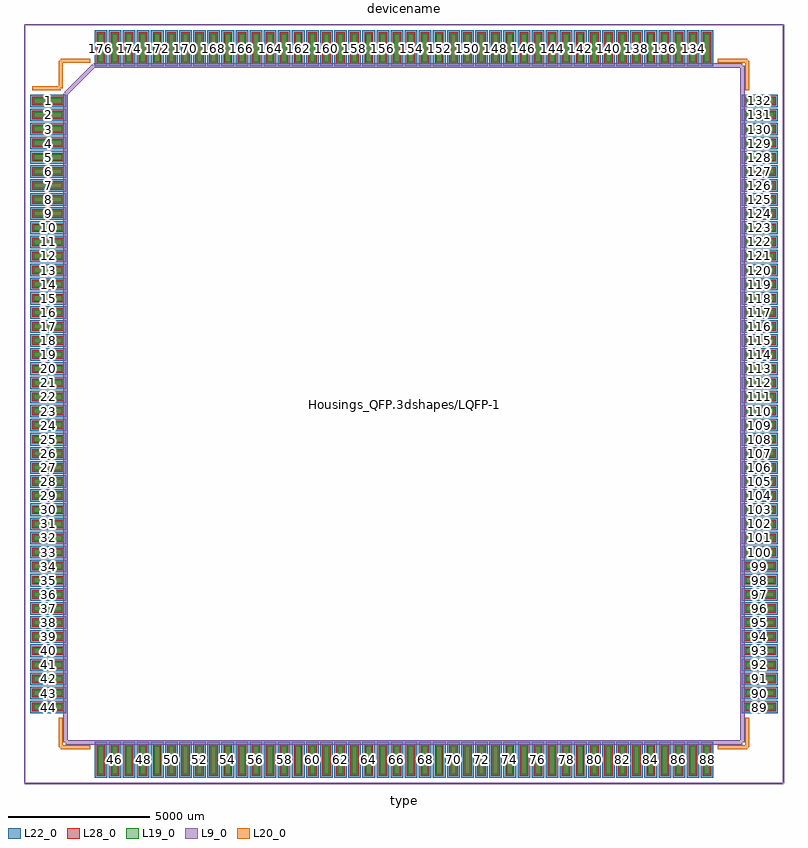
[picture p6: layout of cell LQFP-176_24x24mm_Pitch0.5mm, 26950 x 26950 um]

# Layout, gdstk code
import gdstk
lib = gdstk.Library(unit=1e-6, precision=1e-09)
def R(c, l, rs):  # rectangles x0, y0, x1, y1
    for r in rs: c.add(gdstk.rectangle(r[:2], r[2:], *l))
def A(c, l, x, y, w, h, nx, ny, dx, dy):  # array of equal rectangles
    R(c, l, [(x+i*dx, y+j*dy, x+i*dx+w, y+j*dy+h) for i in range(nx) for j in range(ny)])
L9_0 = (9, 0)
L19_0 = (19, 0)
L20_0 = (20, 0)
L22_0 = (22, 0)
L28_0 = (28, 0)

lqfp_176_24x24mm_pitch0_ = lib.new_cell('LQFP-176_24x24mm_Pitch0.5mm')
A(lqfp_176_24x24mm_pitch0_, L19_0, -10850, -13130, 200, 1020, 44, 2, 500, 25240)
A(lqfp_176_24x24mm_pitch0_, L19_0, -13130, -10850, 1020, 200, 1, 44, 0, 500)
A(lqfp_176_24x24mm_pitch0_, L19_0, 12110, -10850, 1020, 200, 1, 44, 0, 500)
A(lqfp_176_24x24mm_pitch0_, L22_0, -10975, -13255, 450, 1270, 44, 2, 500, 25240)
A(lqfp_176_24x24mm_pitch0_, L22_0, -13255, -10975, 1270, 450, 1, 44, 0, 500)
A(lqfp_176_24x24mm_pitch0_, L22_0, 11985, -10975, 1270, 450, 1, 44, 0, 500)
A(lqfp_176_24x24mm_pitch0_, L28_0, -10900, -13180, 300, 1120, 44, 2, 500, 25240)
A(lqfp_176_24x24mm_pitch0_, L28_0, -13180, -10900, 1120, 300, 1, 44, 0, 500)
A(lqfp_176_24x24mm_pitch0_, L28_0, 12060, -10900, 1120, 300, 1, 44, 0, 500)
lqfp_176_24x24mm_pitch0_.add(gdstk.FlexPath([(-12175,11200),(-13180,11200)], 149.998, ends="flush", simple_path=True, layer=20, datatype=0))  # L20_0
lqfp_176_24x24mm_pitch0_.add(gdstk.FlexPath([(12175,12175),(11125,12175)], 149.998, ends="flush", simple_path=True, layer=20, datatype=0))  # L20_0
lqfp_176_24x24mm_pitch0_.add(gdstk.FlexPath([(12175,-12175),(11125,-12175)], 149.998, ends="flush", simple_path=True, layer=20, datatype=0))  # L20_0
lqfp_176_24x24mm_pitch0_.add(gdstk.FlexPath([(-12175,-12175),(-11125,-12175)], 149.998, ends="flush", simple_path=True, layer=20, datatype=0))  # L20_0
lqfp_176_24x24mm_pitch0_.add(gdstk.FlexPath([(-12175,12175),(-11125,12175)], 149.998, ends="flush", simple_path=True, layer=20, datatype=0))  # L20_0
lqfp_176_24x24mm_pitch0_.add(gdstk.FlexPath([(-12175,-12175),(-12175,-11125)], 149.998, ends="flush", simple_path=True, layer=20, datatype=0))  # L20_0
lqfp_176_24x24mm_pitch0_.add(gdstk.FlexPath([(12175,-12175),(12175,-11125)], 149.998, ends="flush", simple_path=True, layer=20, datatype=0))  # L20_0
lqfp_176_24x24mm_pitch0_.add(gdstk.FlexPath([(12175,12175),(12175,11125)], 149.998, ends="flush", simple_path=True, layer=20, datatype=0))  # L20_0
lqfp_176_24x24mm_pitch0_.add(gdstk.FlexPath([(-12175,12175),(-12175,11200)], 149.998, ends="flush", simple_path=True, layer=20, datatype=0))  # L20_0
lqfp_176_24x24mm_pitch0_.add(gdstk.FlexPath([(-13450,-13450),(13450,-13450)], 50, ends="flush", simple_path=True, layer=9, datatype=0))  # L9_0
lqfp_176_24x24mm_pitch0_.add(gdstk.FlexPath([(-13450,13450),(13450,13450)], 50, ends="flush", simple_path=True, layer=9, datatype=0))  # L9_0
lqfp_176_24x24mm_pitch0_.add(gdstk.FlexPath([(13450,13450),(13450,-13450)], 50, ends="flush", simple_path=True, layer=9, datatype=0))  # L9_0
lqfp_176_24x24mm_pitch0_.add(gdstk.FlexPath([(-13450,13450),(-13450,-13450)], 50, ends="flush", simple_path=True, layer=9, datatype=0))  # L9_0
lqfp_176_24x24mm_pitch0_.add(gdstk.FlexPath([(-12000,11000),(-11000,12000)], 149.998, ends="flush", simple_path=True, layer=9, datatype=0))  # L9_0
lqfp_176_24x24mm_pitch0_.add(gdstk.FlexPath([(-12000,-12000),(-12000,11000)], 149.998, ends="flush", simple_path=True, layer=9, datatype=0))  # L9_0
lqfp_176_24x24mm_pitch0_.add(gdstk.FlexPath([(12000,-12000),(-12000,-12000)], 149.998, ends="flush", simple_path=True, layer=9, datatype=0))  # L9_0
lqfp_176_24x24mm_pitch0_.add(gdstk.FlexPath([(12000,12000),(12000,-12000)], 149.998, ends="flush", simple_path=True, layer=9, datatype=0))  # L9_0
lqfp_176_24x24mm_pitch0_.add(gdstk.FlexPath([(-11000,12000),(12000,12000)], 149.998, ends="flush", simple_path=True, layer=9, datatype=0))  # L9_0
lqfp_176_24x24mm_pitch0_.add(gdstk.Label('Housings_QFP.3dshapes/LQFP-176_24x24mm_Pitch0.5mm.wrl', (0,0), layer=12, texttype=0))
lqfp_176_24x24mm_pitch0_.add(gdstk.Label('176', (-10750,12620), layer=28, texttype=0))
lqfp_176_24x24mm_pitch0_.add(gdstk.Label('175', (-10250,12620), layer=28, texttype=0))
lqfp_176_24x24mm_pitch0_.add(gdstk.Label('174', (-9750,12620), layer=28, texttype=0))
lqfp_176_24x24mm_pitch0_.add(gdstk.Label('173', (-9250,12620), layer=28, texttype=0))
lqfp_176_24x24mm_pitch0_.add(gdstk.Label('172', (-8750,12620), layer=28, texttype=0))
lqfp_176_24x24mm_pitch0_.add(gdstk.Label('171', (-8250,12620), layer=28, texttype=0))
lqfp_176_24x24mm_pitch0_.add(gdstk.Label('170', (-7750,12620), layer=28, texttype=0))
lqfp_176_24x24mm_pitch0_.add(gdstk.Label('169', (-7250,12620), layer=28, texttype=0))
lqfp_176_24x24mm_pitch0_.add(gdstk.Label('168', (-6750,12620), layer=28, texttype=0))
lqfp_176_24x24mm_pitch0_.add(gdstk.Label('167', (-6250,12620), layer=28, texttype=0))
lqfp_176_24x24mm_pitch0_.add(gdstk.Label('166', (-5750,12620), layer=28, texttype=0))
lqfp_176_24x24mm_pitch0_.add(gdstk.Label('165', (-5250,12620), layer=28, texttype=0))
lqfp_176_24x24mm_pitch0_.add(gdstk.Label('164', (-4750,12620), layer=28, texttype=0))
lqfp_176_24x24mm_pitch0_.add(gdstk.Label('163', (-4250,12620), layer=28, texttype=0))
lqfp_176_24x24mm_pitch0_.add(gdstk.Label('162', (-3750,12620), layer=28, texttype=0))
lqfp_176_24x24mm_pitch0_.add(gdstk.Label('161', (-3250,12620), layer=28, texttype=0))
lqfp_176_24x24mm_pitch0_.add(gdstk.Label('160', (-2750,12620), layer=28, texttype=0))
lqfp_176_24x24mm_pitch0_.add(gdstk.Label('159', (-2250,12620), layer=28, texttype=0))
lqfp_176_24x24mm_pitch0_.add(gdstk.Label('158', (-1750,12620), layer=28, texttype=0))
lqfp_176_24x24mm_pitch0_.add(gdstk.Label('157', (-1250,12620), layer=28, texttype=0))
lqfp_176_24x24mm_pitch0_.add(gdstk.Label('156', (-750,12620), layer=28, texttype=0))
lqfp_176_24x24mm_pitch0_.add(gdstk.Label('155', (-250,12620), layer=28, texttype=0))
lqfp_176_24x24mm_pitch0_.add(gdstk.Label('154', (250,12620), layer=28, texttype=0))
lqfp_176_24x24mm_pitch0_.add(gdstk.Label('153', (750,12620), layer=28, texttype=0))
lqfp_176_24x24mm_pitch0_.add(gdstk.Label('152', (1250,12620), layer=28, texttype=0))
lqfp_176_24x24mm_pitch0_.add(gdstk.Label('151', (1750,12620), layer=28, texttype=0))
lqfp_176_24x24mm_pitch0_.add(gdstk.Label('150', (2250,12620), layer=28, texttype=0))
lqfp_176_24x24mm_pitch0_.add(gdstk.Label('149', (2750,12620), layer=28, texttype=0))
lqfp_176_24x24mm_pitch0_.add(gdstk.Label('148', (3250,12620), layer=28, texttype=0))
lqfp_176_24x24mm_pitch0_.add(gdstk.Label('147', (3750,12620), layer=28, texttype=0))
lqfp_176_24x24mm_pitch0_.add(gdstk.Label('146', (4250,12620), layer=28, texttype=0))
lqfp_176_24x24mm_pitch0_.add(gdstk.Label('145', (4750,12620), layer=28, texttype=0))
lqfp_176_24x24mm_pitch0_.add(gdstk.Label('144', (5250,12620), layer=28, texttype=0))
lqfp_176_24x24mm_pitch0_.add(gdstk.Label('143', (5750,12620), layer=28, texttype=0))
lqfp_176_24x24mm_pitch0_.add(gdstk.Label('142', (6250,12620), layer=28, texttype=0))
lqfp_176_24x24mm_pitch0_.add(gdstk.Label('141', (6750,12620), layer=28, texttype=0))
lqfp_176_24x24mm_pitch0_.add(gdstk.Label('140', (7250,12620), layer=28, texttype=0))
lqfp_176_24x24mm_pitch0_.add(gdstk.Label('139', (7750,12620), layer=28, texttype=0))
lqfp_176_24x24mm_pitch0_.add(gdstk.Label('138', (8250,12620), layer=28, texttype=0))
lqfp_176_24x24mm_pitch0_.add(gdstk.Label('137', (8750,12620), layer=28, texttype=0))
lqfp_176_24x24mm_pitch0_.add(gdstk.Label('136', (9250,12620), layer=28, texttype=0))
lqfp_176_24x24mm_pitch0_.add(gdstk.Label('135', (9750,12620), layer=28, texttype=0))
lqfp_176_24x24mm_pitch0_.add(gdstk.Label('134', (10250,12620), layer=28, texttype=0))
lqfp_176_24x24mm_pitch0_.add(gdstk.Label('133', (10750,12620), layer=28, texttype=0))
lqfp_176_24x24mm_pitch0_.add(gdstk.Label('132', (12620,10750), layer=28, texttype=0))
lqfp_176_24x24mm_pitch0_.add(gdstk.Label('131', (12620,10250), layer=28, texttype=0))
lqfp_176_24x24mm_pitch0_.add(gdstk.Label('130', (12620,9750), layer=28, texttype=0))
lqfp_176_24x24mm_pitch0_.add(gdstk.Label('129', (12620,9250), layer=28, texttype=0))
lqfp_176_24x24mm_pitch0_.add(gdstk.Label('128', (12620,8750), layer=28, texttype=0))
lqfp_176_24x24mm_pitch0_.add(gdstk.Label('127', (12620,8250), layer=28, texttype=0))
lqfp_176_24x24mm_pitch0_.add(gdstk.Label('126', (12620,7750), layer=28, texttype=0))
lqfp_176_24x24mm_pitch0_.add(gdstk.Label('125', (12620,7250), layer=28, texttype=0))
lqfp_176_24x24mm_pitch0_.add(gdstk.Label('124', (12620,6750), layer=28, texttype=0))
lqfp_176_24x24mm_pitch0_.add(gdstk.Label('123', (12620,6250), layer=28, texttype=0))
lqfp_176_24x24mm_pitch0_.add(gdstk.Label('122', (12620,5750), layer=28, texttype=0))
lqfp_176_24x24mm_pitch0_.add(gdstk.Label('121', (12620,5250), layer=28, texttype=0))
lqfp_176_24x24mm_pitch0_.add(gdstk.Label('120', (12620,4750), layer=28, texttype=0))
lqfp_176_24x24mm_pitch0_.add(gdstk.Label('119', (12620,4250), layer=28, texttype=0))
lqfp_176_24x24mm_pitch0_.add(gdstk.Label('118', (12620,3750), layer=28, texttype=0))
lqfp_176_24x24mm_pitch0_.add(gdstk.Label('117', (12620,3250), layer=28, texttype=0))
lqfp_176_24x24mm_pitch0_.add(gdstk.Label('116', (12620,2750), layer=28, texttype=0))
lqfp_176_24x24mm_pitch0_.add(gdstk.Label('115', (12620,2250), layer=28, texttype=0))
lqfp_176_24x24mm_pitch0_.add(gdstk.Label('114', (12620,1750), layer=28, texttype=0))
lqfp_176_24x24mm_pitch0_.add(gdstk.Label('113', (12620,1250), layer=28, texttype=0))
lqfp_176_24x24mm_pitch0_.add(gdstk.Label('112', (12620,750), layer=28, texttype=0))
lqfp_176_24x24mm_pitch0_.add(gdstk.Label('111', (12620,250), layer=28, texttype=0))
lqfp_176_24x24mm_pitch0_.add(gdstk.Label('110', (12620,-250), layer=28, texttype=0))
lqfp_176_24x24mm_pitch0_.add(gdstk.Label('109', (12620,-750), layer=28, texttype=0))
lqfp_176_24x24mm_pitch0_.add(gdstk.Label('108', (12620,-1250), layer=28, texttype=0))
lqfp_176_24x24mm_pitch0_.add(gdstk.Label('107', (12620,-1750), layer=28, texttype=0))
lqfp_176_24x24mm_pitch0_.add(gdstk.Label('106', (12620,-2250), layer=28, texttype=0))
lqfp_176_24x24mm_pitch0_.add(gdstk.Label('105', (12620,-2750), layer=28, texttype=0))
lqfp_176_24x24mm_pitch0_.add(gdstk.Label('104', (12620,-3250), layer=28, texttype=0))
lqfp_176_24x24mm_pitch0_.add(gdstk.Label('103', (12620,-3750), layer=28, texttype=0))
lqfp_176_24x24mm_pitch0_.add(gdstk.Label('102', (12620,-4250), layer=28, texttype=0))
lqfp_176_24x24mm_pitch0_.add(gdstk.Label('101', (12620,-4750), layer=28, texttype=0))
lqfp_176_24x24mm_pitch0_.add(gdstk.Label('100', (12620,-5250), layer=28, texttype=0))
lqfp_176_24x24mm_pitch0_.add(gdstk.Label('99', (12620,-5750), layer=28, texttype=0))
lqfp_176_24x24mm_pitch0_.add(gdstk.Label('98', (12620,-6250), layer=28, texttype=0))
lqfp_176_24x24mm_pitch0_.add(gdstk.Label('97', (12620,-6750), layer=28, texttype=0))
lqfp_176_24x24mm_pitch0_.add(gdstk.Label('96', (12620,-7250), layer=28, texttype=0))
lqfp_176_24x24mm_pitch0_.add(gdstk.Label('95', (12620,-7750), layer=28, texttype=0))
lqfp_176_24x24mm_pitch0_.add(gdstk.Label('94', (12620,-8250), layer=28, texttype=0))
lqfp_176_24x24mm_pitch0_.add(gdstk.Label('93', (12620,-8750), layer=28, texttype=0))
lqfp_176_24x24mm_pitch0_.add(gdstk.Label('92', (12620,-9250), layer=28, texttype=0))
lqfp_176_24x24mm_pitch0_.add(gdstk.Label('91', (12620,-9750), layer=28, texttype=0))
lqfp_176_24x24mm_pitch0_.add(gdstk.Label('90', (12620,-10250), layer=28, texttype=0))
lqfp_176_24x24mm_pitch0_.add(gdstk.Label('89', (12620,-10750), layer=28, texttype=0))
lqfp_176_24x24mm_pitch0_.add(gdstk.Label('88', (10750,-12620), layer=28, texttype=0))
lqfp_176_24x24mm_pitch0_.add(gdstk.Label('87', (10250,-12620), layer=28, texttype=0))
lqfp_176_24x24mm_pitch0_.add(gdstk.Label('86', (9750,-12620), layer=28, texttype=0))
lqfp_176_24x24mm_pitch0_.add(gdstk.Label('85', (9250,-12620), layer=28, texttype=0))
lqfp_176_24x24mm_pitch0_.add(gdstk.Label('84', (8750,-12620), layer=28, texttype=0))
lqfp_176_24x24mm_pitch0_.add(gdstk.Label('83', (8250,-12620), layer=28, texttype=0))
lqfp_176_24x24mm_pitch0_.add(gdstk.Label('82', (7750,-12620), layer=28, texttype=0))
lqfp_176_24x24mm_pitch0_.add(gdstk.Label('81', (7250,-12620), layer=28, texttype=0))
lqfp_176_24x24mm_pitch0_.add(gdstk.Label('80', (6750,-12620), layer=28, texttype=0))
lqfp_176_24x24mm_pitch0_.add(gdstk.Label('79', (6250,-12620), layer=28, texttype=0))
lqfp_176_24x24mm_pitch0_.add(gdstk.Label('78', (5750,-12620), layer=28, texttype=0))
lqfp_176_24x24mm_pitch0_.add(gdstk.Label('77', (5250,-12620), layer=28, texttype=0))
lqfp_176_24x24mm_pitch0_.add(gdstk.Label('76', (4750,-12620), layer=28, texttype=0))
lqfp_176_24x24mm_pitch0_.add(gdstk.Label('75', (4250,-12620), layer=28, texttype=0))
lqfp_176_24x24mm_pitch0_.add(gdstk.Label('74', (3750,-12620), layer=28, texttype=0))
lqfp_176_24x24mm_pitch0_.add(gdstk.Label('73', (3250,-12620), layer=28, texttype=0))
lqfp_176_24x24mm_pitch0_.add(gdstk.Label('72', (2750,-12620), layer=28, texttype=0))
lqfp_176_24x24mm_pitch0_.add(gdstk.Label('71', (2250,-12620), layer=28, texttype=0))
lqfp_176_24x24mm_pitch0_.add(gdstk.Label('70', (1750,-12620), layer=28, texttype=0))
lqfp_176_24x24mm_pitch0_.add(gdstk.Label('69', (1250,-12620), layer=28, texttype=0))
lqfp_176_24x24mm_pitch0_.add(gdstk.Label('68', (750,-12620), layer=28, texttype=0))
lqfp_176_24x24mm_pitch0_.add(gdstk.Label('67', (250,-12620), layer=28, texttype=0))
lqfp_176_24x24mm_pitch0_.add(gdstk.Label('66', (-250,-12620), layer=28, texttype=0))
lqfp_176_24x24mm_pitch0_.add(gdstk.Label('65', (-750,-12620), layer=28, texttype=0))
lqfp_176_24x24mm_pitch0_.add(gdstk.Label('64', (-1250,-12620), layer=28, texttype=0))
lqfp_176_24x24mm_pitch0_.add(gdstk.Label('63', (-1750,-12620), layer=28, texttype=0))
lqfp_176_24x24mm_pitch0_.add(gdstk.Label('62', (-2250,-12620), layer=28, texttype=0))
lqfp_176_24x24mm_pitch0_.add(gdstk.Label('61', (-2750,-12620), layer=28, texttype=0))
lqfp_176_24x24mm_pitch0_.add(gdstk.Label('60', (-3250,-12620), layer=28, texttype=0))
lqfp_176_24x24mm_pitch0_.add(gdstk.Label('59', (-3750,-12620), layer=28, texttype=0))
lqfp_176_24x24mm_pitch0_.add(gdstk.Label('58', (-4250,-12620), layer=28, texttype=0))
lqfp_176_24x24mm_pitch0_.add(gdstk.Label('57', (-4750,-12620), layer=28, texttype=0))
lqfp_176_24x24mm_pitch0_.add(gdstk.Label('56', (-5250,-12620), layer=28, texttype=0))
lqfp_176_24x24mm_pitch0_.add(gdstk.Label('55', (-5750,-12620), layer=28, texttype=0))
lqfp_176_24x24mm_pitch0_.add(gdstk.Label('54', (-6250,-12620), layer=28, texttype=0))
lqfp_176_24x24mm_pitch0_.add(gdstk.Label('53', (-6750,-12620), layer=28, texttype=0))
lqfp_176_24x24mm_pitch0_.add(gdstk.Label('52', (-7250,-12620), layer=28, texttype=0))
lqfp_176_24x24mm_pitch0_.add(gdstk.Label('51', (-7750,-12620), layer=28, texttype=0))
lqfp_176_24x24mm_pitch0_.add(gdstk.Label('50', (-8250,-12620), layer=28, texttype=0))
lqfp_176_24x24mm_pitch0_.add(gdstk.Label('49', (-8750,-12620), layer=28, texttype=0))
lqfp_176_24x24mm_pitch0_.add(gdstk.Label('48', (-9250,-12620), layer=28, texttype=0))
lqfp_176_24x24mm_pitch0_.add(gdstk.Label('47', (-9750,-12620), layer=28, texttype=0))
lqfp_176_24x24mm_pitch0_.add(gdstk.Label('46', (-10250,-12620), layer=28, texttype=0))
lqfp_176_24x24mm_pitch0_.add(gdstk.Label('45', (-10750,-12620), layer=28, texttype=0))
lqfp_176_24x24mm_pitch0_.add(gdstk.Label('44', (-12620,-10750), layer=28, texttype=0))
lqfp_176_24x24mm_pitch0_.add(gdstk.Label('43', (-12620,-10250), layer=28, texttype=0))
lqfp_176_24x24mm_pitch0_.add(gdstk.Label('42', (-12620,-9750), layer=28, texttype=0))
lqfp_176_24x24mm_pitch0_.add(gdstk.Label('41', (-12620,-9250), layer=28, texttype=0))
lqfp_176_24x24mm_pitch0_.add(gdstk.Label('40', (-12620,-8750), layer=28, texttype=0))
lqfp_176_24x24mm_pitch0_.add(gdstk.Label('39', (-12620,-8250), layer=28, texttype=0))
lqfp_176_24x24mm_pitch0_.add(gdstk.Label('38', (-12620,-7750), layer=28, texttype=0))
lqfp_176_24x24mm_pitch0_.add(gdstk.Label('37', (-12620,-7250), layer=28, texttype=0))
lqfp_176_24x24mm_pitch0_.add(gdstk.Label('36', (-12620,-6750), layer=28, texttype=0))
lqfp_176_24x24mm_pitch0_.add(gdstk.Label('35', (-12620,-6250), layer=28, texttype=0))
lqfp_176_24x24mm_pitch0_.add(gdstk.Label('34', (-12620,-5750), layer=28, texttype=0))
lqfp_176_24x24mm_pitch0_.add(gdstk.Label('33', (-12620,-5250), layer=28, texttype=0))
lqfp_176_24x24mm_pitch0_.add(gdstk.Label('32', (-12620,-4750), layer=28, texttype=0))
lqfp_176_24x24mm_pitch0_.add(gdstk.Label('31', (-12620,-4250), layer=28, texttype=0))
lqfp_176_24x24mm_pitch0_.add(gdstk.Label('30', (-12620,-3750), layer=28, texttype=0))
lqfp_176_24x24mm_pitch0_.add(gdstk.Label('29', (-12620,-3250), layer=28, texttype=0))
lqfp_176_24x24mm_pitch0_.add(gdstk.Label('28', (-12620,-2750), layer=28, texttype=0))
lqfp_176_24x24mm_pitch0_.add(gdstk.Label('27', (-12620,-2250), layer=28, texttype=0))
lqfp_176_24x24mm_pitch0_.add(gdstk.Label('26', (-12620,-1750), layer=28, texttype=0))
lqfp_176_24x24mm_pitch0_.add(gdstk.Label('25', (-12620,-1250), layer=28, texttype=0))
lqfp_176_24x24mm_pitch0_.add(gdstk.Label('24', (-12620,-750), layer=28, texttype=0))
lqfp_176_24x24mm_pitch0_.add(gdstk.Label('23', (-12620,-250), layer=28, texttype=0))
lqfp_176_24x24mm_pitch0_.add(gdstk.Label('22', (-12620,250), layer=28, texttype=0))
lqfp_176_24x24mm_pitch0_.add(gdstk.Label('21', (-12620,750), layer=28, texttype=0))
lqfp_176_24x24mm_pitch0_.add(gdstk.Label('20', (-12620,1250), layer=28, texttype=0))
lqfp_176_24x24mm_pitch0_.add(gdstk.Label('19', (-12620,1750), layer=28, texttype=0))
lqfp_176_24x24mm_pitch0_.add(gdstk.Label('18', (-12620,2250), layer=28, texttype=0))
lqfp_176_24x24mm_pitch0_.add(gdstk.Label('17', (-12620,2750), layer=28, texttype=0))
lqfp_176_24x24mm_pitch0_.add(gdstk.Label('16', (-12620,3250), layer=28, texttype=0))
lqfp_176_24x24mm_pitch0_.add(gdstk.Label('15', (-12620,3750), layer=28, texttype=0))
lqfp_176_24x24mm_pitch0_.add(gdstk.Label('14', (-12620,4250), layer=28, texttype=0))
lqfp_176_24x24mm_pitch0_.add(gdstk.Label('13', (-12620,4750), layer=28, texttype=0))
lqfp_176_24x24mm_pitch0_.add(gdstk.Label('12', (-12620,5250), layer=28, texttype=0))
lqfp_176_24x24mm_pitch0_.add(gdstk.Label('11', (-12620,5750), layer=28, texttype=0))
lqfp_176_24x24mm_pitch0_.add(gdstk.Label('10', (-12620,6250), layer=28, texttype=0))
lqfp_176_24x24mm_pitch0_.add(gdstk.Label('9', (-12620,6750), layer=28, texttype=0))
lqfp_176_24x24mm_pitch0_.add(gdstk.Label('8', (-12620,7250), layer=28, texttype=0))
lqfp_176_24x24mm_pitch0_.add(gdstk.Label('7', (-12620,7750), layer=28, texttype=0))
lqfp_176_24x24mm_pitch0_.add(gdstk.Label('6', (-12620,8250), layer=28, texttype=0))
lqfp_176_24x24mm_pitch0_.add(gdstk.Label('5', (-12620,8750), layer=28, texttype=0))
lqfp_176_24x24mm_pitch0_.add(gdstk.Label('4', (-12620,9250), layer=28, texttype=0))
lqfp_176_24x24mm_pitch0_.add(gdstk.Label('3', (-12620,9750), layer=28, texttype=0))
lqfp_176_24x24mm_pitch0_.add(gdstk.Label('2', (-12620,10250), layer=28, texttype=0))
lqfp_176_24x24mm_pitch0_.add(gdstk.Label('1', (-12620,10750), layer=28, texttype=0))
lqfp_176_24x24mm_pitch0_.add(gdstk.Label('%R', (0,0), layer=9, texttype=0))
lqfp_176_24x24mm_pitch0_.add(gdstk.Label('type', (0,-14180), layer=9, texttype=0))
lqfp_176_24x24mm_pitch0_.add(gdstk.Label('devicename', (0,14180), layer=9, texttype=0))

lib.write_gds('LQFP-176_24x24mm_Pitch0.5mm.gds')
